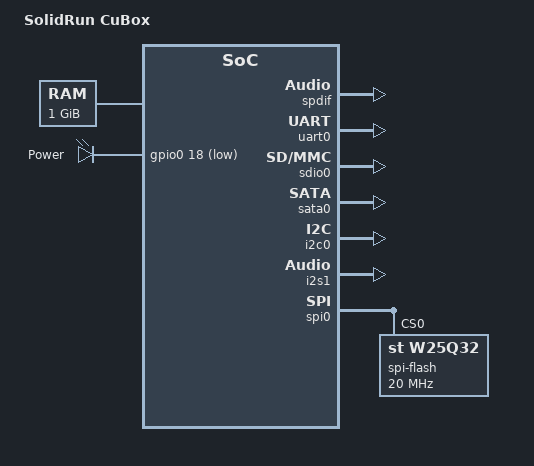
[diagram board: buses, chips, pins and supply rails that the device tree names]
/dts-v1/;

/include/ "dove.dtsi"

/ {
	model = "SolidRun CuBox";
	compatible = "solidrun,cubox", "marvell,dove";

	memory {
		device_type = "memory";
		reg = <0x00000000 0x40000000>;
	};

	chosen {
		bootargs = "console=ttyS0,115200n8 earlyprintk";
	};

	leds {
		compatible = "gpio-leds";
		power {
			label = "Power";
			gpios = <&gpio0 18 1>;
			linux,default-trigger = "default-on";
		};
	};

	sound {
		compatible = "marvell,kirkwood-spdif";
		marvell,audio-controller = <&i2s1>;
		marvell,audio-codec = <&spdif>;
	};

	soc@f1000000 {
		spdif: spdif-jack {
			compatible = "spdif-transceiver";
		};
	};
};

&uart0 { status = "okay"; };
&sdio0 { status = "okay"; };
&sata0 { status = "okay"; };
&i2c0 { status = "okay"; };
&i2s1 { status = "okay"; };

&spi0 {
	status = "okay";

	/* spi0.0: 4M Flash Winbond W25Q32BV */
	spi-flash@0 {
		compatible = "st,w25q32";
		spi-max-frequency = <20000000>;
		reg = <0>;
	};
};
